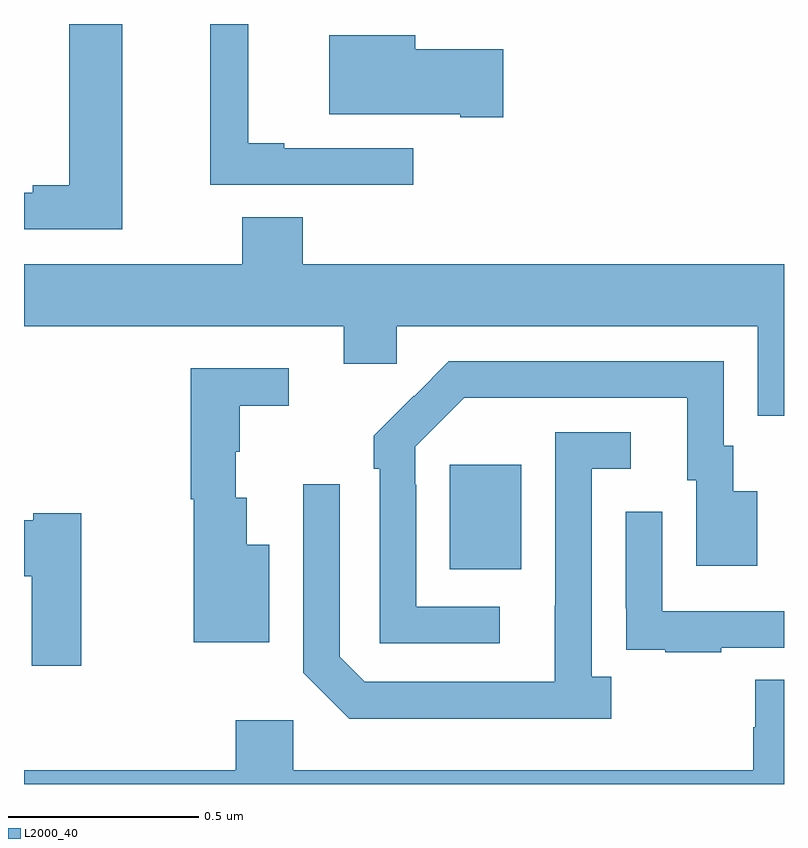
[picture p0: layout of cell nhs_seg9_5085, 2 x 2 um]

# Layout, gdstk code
import gdstk
lib = gdstk.Library(unit=1e-6, precision=1e-09)
def R(c, l, rs):  # rectangles x0, y0, x1, y1
    for r in rs: c.add(gdstk.rectangle(r[:2], r[2:], *l))
def P(c, l, *ps):  # polygons
    for p in ps: c.add(gdstk.Polygon(p, *l))
L2000_40 = (2000, 40)

nhs_seg9_5085 = lib.new_cell('nhs_seg9_5085')
R(nhs_seg9_5085, L2000_40, [(175.121,1245.065,175.309,1245.34)])
P(nhs_seg9_5085, L2000_40, [(174.259,1246.5),(174.119,1246.5),(174.119,1246.076),(174.023,1246.076),(174.023,1246.056),(174,1246.056),(174,1245.96),(174.259,1245.96)],
  [(175.024,1246.173),(174.685,1246.173),(174.685,1246.186),(174.59,1246.186),(174.59,1246.5),(174.49,1246.5),(174.49,1246.077),(175.024,1246.077)],
  [(175.261,1246.433),(175.03,1246.433),(175.03,1246.471),(174.803,1246.471),(174.803,1246.262),(175.148,1246.262),(175.148,1246.255),(175.261,1246.255)],
  [(176,1245.868),(174.734,1245.868),(174.734,1245.992),(174.574,1245.992),(174.574,1245.868),(174,1245.868),(174,1245.704),(174.842,1245.704),(174.842,1245.606),(174.981,1245.606),(174.981,1245.704),(175.931,1245.704),(175.931,1245.469),(176,1245.469)],
  [(175.252,1244.967),(175.032,1244.967),(175.032,1245.287),(175.029,1245.287),(175.029,1245.387),(175.158,1245.516),(175.745,1245.516),(175.745,1245.3),(175.769,1245.3),(175.769,1245.075),(175.93,1245.075),(175.93,1245.271),(175.867,1245.271),(175.867,1245.39),(175.842,1245.39),(175.842,1245.612),(175.118,1245.612),(175.027,1245.521),(175.026,1245.522),(174.921,1245.417),(174.921,1245.329),(174.936,1245.329),(174.936,1244.871),(175.252,1244.871)],
  [(174.646,1245.13),(174.586,1245.13),(174.586,1245.253),(174.557,1245.253),(174.557,1245.375),(174.568,1245.375),(174.568,1245.496),(174.697,1245.496),(174.697,1245.594),(174.439,1245.594),(174.439,1245.249),(174.447,1245.249),(174.447,1244.873),(174.646,1244.873)],
  [(175.546,1244.782),(175.494,1244.782),(175.494,1245.33),(175.597,1245.33),(175.597,1245.426),(175.398,1245.426),(175.398,1244.969),(175.397,1244.969),(175.397,1244.769),(174.897,1244.769),(174.831,1244.835),(174.831,1245.289),(174.735,1245.289),(174.735,1244.793),(174.856,1244.672),(175.546,1244.672)],
  [(175.835,1244.859),(176,1244.859),(176,1244.955),(175.68,1244.955),(175.68,1245.217),(175.584,1245.217),(175.584,1244.962),(175.585,1244.962),(175.585,1244.853),(175.687,1244.853),(175.687,1244.847),(175.835,1244.847)],
  [(174.15,1245.212),(174.024,1245.212),(174.024,1245.194),(174,1245.194),(174,1245.047),(174.02,1245.047),(174.02,1244.811),(174.15,1244.811)],
  [(176,1244.774),(175.924,1244.774),(175.924,1244.649),(175.919,1244.649),(175.919,1244.536),(174.708,1244.536),(174.708,1244.668),(174.557,1244.668),(174.557,1244.536),(174,1244.536),(174,1244.5),(176,1244.5)])

lib.write_gds('nhs_seg9_5085.gds')
